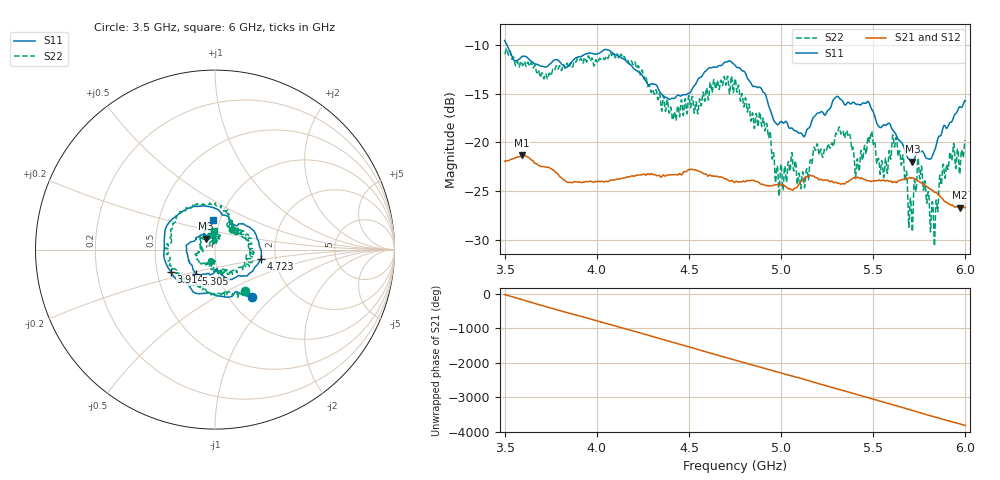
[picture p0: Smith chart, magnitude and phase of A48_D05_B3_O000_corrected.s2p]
! Created with skrf 1.9.0 (http://scikit-rf.org).
# Hz S RI R 50.0
!freq ReS11 ImS11 ReS21 ImS21 ReS12 ImS12 ReS22 ImS22
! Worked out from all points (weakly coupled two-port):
!   1601 points, 3.5 GHz to 6 GHz, reference 50 ohm
!   highest |S21| = -21.33 dB at 3.594 GHz (marker M1); lowest = -26.7 dB at 5.97 GHz (marker M2)
!   lowest |S11| = -22.0 dB at 5.713 GHz (marker M3), VSWR 1.17, Z = 44.8 + j5.47 ohm
!   |S11| at or under -10 dB: 3.513 GHz to end of sweep
!   |S22| runs from -30.6 to -10.4 dB; largest |S21 - S12| = 0.0011
!   S11 on the Smith chart (normalised r, x): 3.5 GHz: 1.27, -0.75; 3.914 GHz: 0.59, -0.16; 4.723 GHz: 1.68, -0.18; 5.305 GHz: 0.78, -0.22; 6 GHz: 0.92, +0.31
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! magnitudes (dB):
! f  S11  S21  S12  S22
! 3.5 GHz  -9.6  -21.9  -21.9  -10.9
! 3.594 GHz  -11.2  -21.3  -21.3  -11.9
! 3.914 GHz  -11.2  -24.1  -24.1  -11.4
! 3.917 GHz  -11.2  -24.1  -24.1  -11.5
! 4.334 GHz  -14.5  -23.4  -23.3  -15.6
! 4.42 GHz  -15.5  -23.3  -23.3  -16.9
! 4.723 GHz  -11.6  -24.0  -23.9  -14.6
! 4.75 GHz  -12.1  -24.1  -24.0  -13.5
! 4.931 GHz  -16.2  -24.4  -24.4  -19.5
! 4.98 GHz  -18.2  -24.4  -24.3  -22.4
! 5.167 GHz  -17.8  -23.4  -23.4  -22.2
! 5.305 GHz  -15.3  -24.2  -24.1  -19.1
! 5.412 GHz  -16.1  -23.6  -23.5  -21.8
! 5.483 GHz  -16.2  -24.0  -23.9  -19.7
! 5.584 GHz  -18.0  -24.0  -23.9  -21.2
! 5.617 GHz  -19.0  -24.0  -24.0  -20.4
! 5.713 GHz  -22.0  -23.6  -23.5  -29.1
! 5.752 GHz  -21.0  -24.0  -24.0  -23.6
! 5.822 GHz  -21.3  -24.9  -24.8  -26.1
! 5.87 GHz  -19.1  -25.7  -25.6  -24.3
! 5.97 GHz  -16.4  -26.7  -26.6  -23.2
! 6 GHz  -15.7  -26.7  -26.6  -19.8
